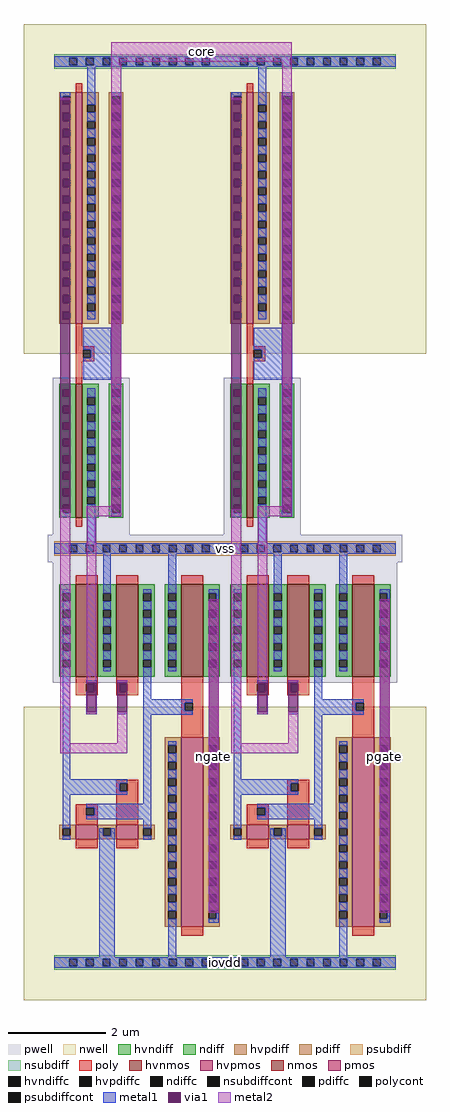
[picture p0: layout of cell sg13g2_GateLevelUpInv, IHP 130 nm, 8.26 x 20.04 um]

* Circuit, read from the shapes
.subckt sg13g2_GateLevelUpInv vdd vss iovdd core ngate pgate
XM1 vss core n1 vss sg13_hv_nmos w=1.9u l=0.45u
XM2 vss core n2 vss sg13_lv_nmos w=2.75u l=0.13u
XM3 n3 n2 vss vss sg13_hv_nmos w=1.9u l=0.45u
XM4 ngate n3 vss vss sg13_hv_nmos w=1.9u l=0.45u
XM5 vss core n4 vss sg13_hv_nmos w=1.9u l=0.45u
XM6 vss core n5 vss sg13_lv_nmos w=2.75u l=0.13u
XM7 n6 n5 vss vss sg13_hv_nmos w=1.9u l=0.45u
XM8 pgate n6 vss vss sg13_hv_nmos w=1.9u l=0.45u
XM9 iovdd n3 n1 iovdd sg13_hv_pmos w=0.3u l=0.45u
XM10 vdd core n2 vdd sg13_lv_pmos w=4.75u l=0.13u
XM11 n3 n1 iovdd iovdd sg13_hv_pmos w=0.3u l=0.45u
XM12 ngate n3 iovdd iovdd sg13_hv_pmos w=3.9u l=0.45u
XM13 iovdd n6 n4 iovdd sg13_hv_pmos w=0.3u l=0.45u
XM14 vdd core n5 vdd sg13_lv_pmos w=4.75u l=0.13u
XM15 n6 n4 iovdd iovdd sg13_hv_pmos w=0.3u l=0.45u
XM16 pgate n6 iovdd iovdd sg13_hv_pmos w=3.9u l=0.45u
.ends

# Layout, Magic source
magic
tech ihp-sg13g2
magscale 1 2
<< metal1 >>
rect 0 -221 1404 -179
rect 0 -2221 1404 -2179
rect 0 -3921 1404 -3879
<< metal2 >>
rect 235 -200 977 -120
rect 235 -2047 275 -200
rect 937 -2047 977 -200
rect 636 -3696 676 -2408
rect 1338 -3696 1378 -2408
use sg13g2_LevelUpInv  sg13g2_LevelUpInv_0
transform 1 0 0 0 1 -3900
box -124 -154 826 3854
use sg13g2_LevelUpInv  sg13g2_LevelUpInv_1
transform 1 0 702 0 1 -3900
box -124 -154 826 3854
<< labels >>
flabel metal2 s 1338 -3696 1378 -2408 0 FreeSans 800 0 0 0 pgate
port 6 nsew
rlabel metal2 s 636 -3696 676 -2408 4 ngate
port 5 nsew
rlabel metal2 s 235 -200 977 -120 4 core
port 4 nsew
rlabel metal1 s 0 -3921 1404 -3879 4 iovdd
port 3 nsew
rlabel metal1 s 0 -221 1404 -179 4 vdd
port 1 nsew
rlabel metal1 s 0 -2221 1404 -2179 4 vss
port 2 nsew
<< properties >>
string device primitive
string GDS_END 29661080
string GDS_FILE sg13g2_io.gds
string GDS_START 29659922
<< end >>

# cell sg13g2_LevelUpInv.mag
magic
tech ihp-sg13g2
magscale 1 2
<< nwell >>
rect -124 2500 826 3854
rect -124 -154 826 1050
<< pwell >>
rect -5 1756 311 2402
rect -26 1644 728 1756
rect -5 1148 707 1644
<< nmos >>
rect 89 1826 115 2376
<< pmos >>
rect 89 2624 115 3574
<< hvnmos >>
rect 89 1174 179 1554
rect 255 1174 345 1554
rect 523 1174 613 1554
<< hvpmos >>
rect 89 506 179 566
rect 255 506 345 566
rect 523 146 613 926
<< ndiff >>
rect 21 2355 89 2376
rect 21 2323 35 2355
rect 67 2323 89 2355
rect 21 2287 89 2323
rect 21 2255 35 2287
rect 67 2255 89 2287
rect 21 2219 89 2255
rect 21 2187 35 2219
rect 67 2187 89 2219
rect 21 2151 89 2187
rect 21 2119 35 2151
rect 67 2119 89 2151
rect 21 2083 89 2119
rect 21 2051 35 2083
rect 67 2051 89 2083
rect 21 2015 89 2051
rect 21 1983 35 2015
rect 67 1983 89 2015
rect 21 1947 89 1983
rect 21 1915 35 1947
rect 67 1915 89 1947
rect 21 1879 89 1915
rect 21 1847 35 1879
rect 67 1847 89 1879
rect 21 1826 89 1847
rect 115 2321 183 2376
rect 115 2289 137 2321
rect 169 2289 183 2321
rect 115 2253 183 2289
rect 115 2221 137 2253
rect 169 2221 183 2253
rect 115 2185 183 2221
rect 115 2153 137 2185
rect 169 2153 183 2185
rect 115 2117 183 2153
rect 115 2085 137 2117
rect 169 2085 183 2117
rect 115 2049 183 2085
rect 115 2017 137 2049
rect 169 2017 183 2049
rect 115 1981 183 2017
rect 115 1949 137 1981
rect 169 1949 183 1981
rect 115 1913 183 1949
rect 115 1881 137 1913
rect 169 1881 183 1913
rect 115 1826 183 1881
rect 225 2355 285 2376
rect 225 2323 239 2355
rect 271 2323 285 2355
rect 225 2287 285 2323
rect 225 2255 239 2287
rect 271 2255 285 2287
rect 225 2219 285 2255
rect 225 2187 239 2219
rect 271 2187 285 2219
rect 225 2151 285 2187
rect 225 2119 239 2151
rect 271 2119 285 2151
rect 225 2083 285 2119
rect 225 2051 239 2083
rect 271 2051 285 2083
rect 225 2015 285 2051
rect 225 1983 239 2015
rect 271 1983 285 2015
rect 225 1947 285 1983
rect 225 1915 239 1947
rect 271 1915 285 1947
rect 225 1879 285 1915
rect 225 1847 239 1879
rect 271 1847 285 1879
rect 225 1826 285 1847
<< pdiff >>
rect 21 3557 89 3574
rect 21 3525 35 3557
rect 67 3525 89 3557
rect 21 3489 89 3525
rect 21 3457 35 3489
rect 67 3457 89 3489
rect 21 3421 89 3457
rect 21 3389 35 3421
rect 67 3389 89 3421
rect 21 3353 89 3389
rect 21 3321 35 3353
rect 67 3321 89 3353
rect 21 3285 89 3321
rect 21 3253 35 3285
rect 67 3253 89 3285
rect 21 3217 89 3253
rect 21 3185 35 3217
rect 67 3185 89 3217
rect 21 3149 89 3185
rect 21 3117 35 3149
rect 67 3117 89 3149
rect 21 3081 89 3117
rect 21 3049 35 3081
rect 67 3049 89 3081
rect 21 3013 89 3049
rect 21 2981 35 3013
rect 67 2981 89 3013
rect 21 2945 89 2981
rect 21 2913 35 2945
rect 67 2913 89 2945
rect 21 2877 89 2913
rect 21 2845 35 2877
rect 67 2845 89 2877
rect 21 2809 89 2845
rect 21 2777 35 2809
rect 67 2777 89 2809
rect 21 2741 89 2777
rect 21 2709 35 2741
rect 67 2709 89 2741
rect 21 2673 89 2709
rect 21 2641 35 2673
rect 67 2641 89 2673
rect 21 2624 89 2641
rect 115 3523 183 3574
rect 115 3491 137 3523
rect 169 3491 183 3523
rect 115 3455 183 3491
rect 115 3423 137 3455
rect 169 3423 183 3455
rect 115 3387 183 3423
rect 115 3355 137 3387
rect 169 3355 183 3387
rect 115 3319 183 3355
rect 115 3287 137 3319
rect 169 3287 183 3319
rect 115 3251 183 3287
rect 115 3219 137 3251
rect 169 3219 183 3251
rect 115 3183 183 3219
rect 115 3151 137 3183
rect 169 3151 183 3183
rect 115 3115 183 3151
rect 115 3083 137 3115
rect 169 3083 183 3115
rect 115 3047 183 3083
rect 115 3015 137 3047
rect 169 3015 183 3047
rect 115 2979 183 3015
rect 115 2947 137 2979
rect 169 2947 183 2979
rect 115 2911 183 2947
rect 115 2879 137 2911
rect 169 2879 183 2911
rect 115 2843 183 2879
rect 115 2811 137 2843
rect 169 2811 183 2843
rect 115 2775 183 2811
rect 115 2743 137 2775
rect 169 2743 183 2775
rect 115 2707 183 2743
rect 115 2675 137 2707
rect 169 2675 183 2707
rect 115 2624 183 2675
rect 225 3557 285 3574
rect 225 3525 239 3557
rect 271 3525 285 3557
rect 225 3489 285 3525
rect 225 3457 239 3489
rect 271 3457 285 3489
rect 225 3421 285 3457
rect 225 3389 239 3421
rect 271 3389 285 3421
rect 225 3353 285 3389
rect 225 3321 239 3353
rect 271 3321 285 3353
rect 225 3285 285 3321
rect 225 3253 239 3285
rect 271 3253 285 3285
rect 225 3217 285 3253
rect 225 3185 239 3217
rect 271 3185 285 3217
rect 225 3149 285 3185
rect 225 3117 239 3149
rect 271 3117 285 3149
rect 225 3081 285 3117
rect 225 3049 239 3081
rect 271 3049 285 3081
rect 225 3013 285 3049
rect 225 2981 239 3013
rect 271 2981 285 3013
rect 225 2945 285 2981
rect 225 2913 239 2945
rect 271 2913 285 2945
rect 225 2877 285 2913
rect 225 2845 239 2877
rect 271 2845 285 2877
rect 225 2809 285 2845
rect 225 2777 239 2809
rect 271 2777 285 2809
rect 225 2741 285 2777
rect 225 2709 239 2741
rect 271 2709 285 2741
rect 225 2673 285 2709
rect 225 2641 239 2673
rect 271 2641 285 2673
rect 225 2624 285 2641
<< hvndiff >>
rect 21 1516 89 1554
rect 21 1484 35 1516
rect 67 1484 89 1516
rect 21 1448 89 1484
rect 21 1416 35 1448
rect 67 1416 89 1448
rect 21 1380 89 1416
rect 21 1348 35 1380
rect 67 1348 89 1380
rect 21 1312 89 1348
rect 21 1280 35 1312
rect 67 1280 89 1312
rect 21 1244 89 1280
rect 21 1212 35 1244
rect 67 1212 89 1244
rect 21 1174 89 1212
rect 179 1516 255 1554
rect 179 1484 201 1516
rect 233 1484 255 1516
rect 179 1448 255 1484
rect 179 1416 201 1448
rect 233 1416 255 1448
rect 179 1380 255 1416
rect 179 1348 201 1380
rect 233 1348 255 1380
rect 179 1312 255 1348
rect 179 1280 201 1312
rect 233 1280 255 1312
rect 179 1244 255 1280
rect 179 1212 201 1244
rect 233 1212 255 1244
rect 179 1174 255 1212
rect 345 1516 413 1554
rect 345 1484 367 1516
rect 399 1484 413 1516
rect 345 1448 413 1484
rect 345 1416 367 1448
rect 399 1416 413 1448
rect 345 1380 413 1416
rect 345 1348 367 1380
rect 399 1348 413 1380
rect 345 1312 413 1348
rect 345 1280 367 1312
rect 399 1280 413 1312
rect 345 1244 413 1280
rect 345 1212 367 1244
rect 399 1212 413 1244
rect 345 1174 413 1212
rect 455 1516 523 1554
rect 455 1484 469 1516
rect 501 1484 523 1516
rect 455 1448 523 1484
rect 455 1416 469 1448
rect 501 1416 523 1448
rect 455 1380 523 1416
rect 455 1348 469 1380
rect 501 1348 523 1380
rect 455 1312 523 1348
rect 455 1280 469 1312
rect 501 1280 523 1312
rect 455 1244 523 1280
rect 455 1212 469 1244
rect 501 1212 523 1244
rect 455 1174 523 1212
rect 613 1516 681 1554
rect 613 1484 635 1516
rect 667 1484 681 1516
rect 613 1448 681 1484
rect 613 1416 635 1448
rect 667 1416 681 1448
rect 613 1380 681 1416
rect 613 1348 635 1380
rect 667 1348 681 1380
rect 613 1312 681 1348
rect 613 1280 635 1312
rect 667 1280 681 1312
rect 613 1244 681 1280
rect 613 1212 635 1244
rect 667 1212 681 1244
rect 613 1174 681 1212
<< hvpdiff >>
rect 455 892 523 926
rect 455 860 469 892
rect 501 860 523 892
rect 455 824 523 860
rect 455 792 469 824
rect 501 792 523 824
rect 455 756 523 792
rect 455 724 469 756
rect 501 724 523 756
rect 455 688 523 724
rect 455 656 469 688
rect 501 656 523 688
rect 455 620 523 656
rect 455 588 469 620
rect 501 588 523 620
rect 21 552 89 566
rect 21 520 35 552
rect 67 520 89 552
rect 21 506 89 520
rect 179 552 255 566
rect 179 520 201 552
rect 233 520 255 552
rect 179 506 255 520
rect 345 552 413 566
rect 345 520 367 552
rect 399 520 413 552
rect 345 506 413 520
rect 455 552 523 588
rect 455 520 469 552
rect 501 520 523 552
rect 455 484 523 520
rect 455 452 469 484
rect 501 452 523 484
rect 455 416 523 452
rect 455 384 469 416
rect 501 384 523 416
rect 455 348 523 384
rect 455 316 469 348
rect 501 316 523 348
rect 455 280 523 316
rect 455 248 469 280
rect 501 248 523 280
rect 455 212 523 248
rect 455 180 469 212
rect 501 180 523 212
rect 455 146 523 180
rect 613 892 681 926
rect 613 860 635 892
rect 667 860 681 892
rect 613 824 681 860
rect 613 792 635 824
rect 667 792 681 824
rect 613 756 681 792
rect 613 724 635 756
rect 667 724 681 756
rect 613 688 681 724
rect 613 656 635 688
rect 667 656 681 688
rect 613 620 681 656
rect 613 588 635 620
rect 667 588 681 620
rect 613 552 681 588
rect 613 520 635 552
rect 667 520 681 552
rect 613 484 681 520
rect 613 452 635 484
rect 667 452 681 484
rect 613 416 681 452
rect 613 384 635 416
rect 667 384 681 416
rect 613 348 681 384
rect 613 316 635 348
rect 667 316 681 348
rect 613 280 681 316
rect 613 248 635 280
rect 667 248 681 280
rect 613 212 681 248
rect 613 180 635 212
rect 667 180 681 212
rect 613 146 681 180
<< ndiffc >>
rect 35 2323 67 2355
rect 35 2255 67 2287
rect 35 2187 67 2219
rect 35 2119 67 2151
rect 35 2051 67 2083
rect 35 1983 67 2015
rect 35 1915 67 1947
rect 35 1847 67 1879
rect 137 2289 169 2321
rect 137 2221 169 2253
rect 137 2153 169 2185
rect 137 2085 169 2117
rect 137 2017 169 2049
rect 137 1949 169 1981
rect 137 1881 169 1913
rect 239 2323 271 2355
rect 239 2255 271 2287
rect 239 2187 271 2219
rect 239 2119 271 2151
rect 239 2051 271 2083
rect 239 1983 271 2015
rect 239 1915 271 1947
rect 239 1847 271 1879
<< pdiffc >>
rect 35 3525 67 3557
rect 35 3457 67 3489
rect 35 3389 67 3421
rect 35 3321 67 3353
rect 35 3253 67 3285
rect 35 3185 67 3217
rect 35 3117 67 3149
rect 35 3049 67 3081
rect 35 2981 67 3013
rect 35 2913 67 2945
rect 35 2845 67 2877
rect 35 2777 67 2809
rect 35 2709 67 2741
rect 35 2641 67 2673
rect 137 3491 169 3523
rect 137 3423 169 3455
rect 137 3355 169 3387
rect 137 3287 169 3319
rect 137 3219 169 3251
rect 137 3151 169 3183
rect 137 3083 169 3115
rect 137 3015 169 3047
rect 137 2947 169 2979
rect 137 2879 169 2911
rect 137 2811 169 2843
rect 137 2743 169 2775
rect 137 2675 169 2707
rect 239 3525 271 3557
rect 239 3457 271 3489
rect 239 3389 271 3421
rect 239 3321 271 3353
rect 239 3253 271 3285
rect 239 3185 271 3217
rect 239 3117 271 3149
rect 239 3049 271 3081
rect 239 2981 271 3013
rect 239 2913 271 2945
rect 239 2845 271 2877
rect 239 2777 271 2809
rect 239 2709 271 2741
rect 239 2641 271 2673
<< hvndiffc >>
rect 35 1484 67 1516
rect 35 1416 67 1448
rect 35 1348 67 1380
rect 35 1280 67 1312
rect 35 1212 67 1244
rect 201 1484 233 1516
rect 201 1416 233 1448
rect 201 1348 233 1380
rect 201 1280 233 1312
rect 201 1212 233 1244
rect 367 1484 399 1516
rect 367 1416 399 1448
rect 367 1348 399 1380
rect 367 1280 399 1312
rect 367 1212 399 1244
rect 469 1484 501 1516
rect 469 1416 501 1448
rect 469 1348 501 1380
rect 469 1280 501 1312
rect 469 1212 501 1244
rect 635 1484 667 1516
rect 635 1416 667 1448
rect 635 1348 667 1380
rect 635 1280 667 1312
rect 635 1212 667 1244
<< hvpdiffc >>
rect 469 860 501 892
rect 469 792 501 824
rect 469 724 501 756
rect 469 656 501 688
rect 469 588 501 620
rect 35 520 67 552
rect 201 520 233 552
rect 367 520 399 552
rect 469 520 501 552
rect 469 452 501 484
rect 469 384 501 416
rect 469 316 501 348
rect 469 248 501 280
rect 469 180 501 212
rect 635 860 667 892
rect 635 792 667 824
rect 635 724 667 756
rect 635 656 667 688
rect 635 588 667 620
rect 635 520 667 552
rect 635 452 667 484
rect 635 384 667 416
rect 635 316 667 348
rect 635 248 667 280
rect 635 180 667 212
<< psubdiff >>
rect 0 1716 702 1730
rect 0 1684 63 1716
rect 95 1684 131 1716
rect 163 1684 199 1716
rect 231 1684 267 1716
rect 299 1684 335 1716
rect 367 1684 403 1716
rect 435 1684 471 1716
rect 503 1684 539 1716
rect 571 1684 607 1716
rect 639 1684 702 1716
rect 0 1670 702 1684
<< nsubdiff >>
rect 0 3716 702 3730
rect 0 3684 63 3716
rect 95 3684 131 3716
rect 163 3684 199 3716
rect 231 3684 267 3716
rect 299 3684 335 3716
rect 367 3684 403 3716
rect 435 3684 471 3716
rect 503 3684 539 3716
rect 571 3684 607 3716
rect 639 3684 702 3716
rect 0 3670 702 3684
rect 0 16 702 30
rect 0 -16 63 16
rect 95 -16 131 16
rect 163 -16 199 16
rect 231 -16 267 16
rect 299 -16 335 16
rect 367 -16 403 16
rect 435 -16 471 16
rect 503 -16 539 16
rect 571 -16 607 16
rect 639 -16 702 16
rect 0 -30 702 -16
<< psubdiffcont >>
rect 63 1684 95 1716
rect 131 1684 163 1716
rect 199 1684 231 1716
rect 267 1684 299 1716
rect 335 1684 367 1716
rect 403 1684 435 1716
rect 471 1684 503 1716
rect 539 1684 571 1716
rect 607 1684 639 1716
<< nsubdiffcont >>
rect 63 3684 95 3716
rect 131 3684 163 3716
rect 199 3684 231 3716
rect 267 3684 299 3716
rect 335 3684 367 3716
rect 403 3684 435 3716
rect 471 3684 503 3716
rect 539 3684 571 3716
rect 607 3684 639 3716
rect 63 -16 95 16
rect 131 -16 163 16
rect 199 -16 231 16
rect 267 -16 299 16
rect 335 -16 367 16
rect 403 -16 435 16
rect 471 -16 503 16
rect 539 -16 571 16
rect 607 -16 639 16
<< poly >>
rect 89 3574 115 3610
rect 89 2530 115 2624
rect 89 2516 165 2530
rect 89 2484 119 2516
rect 151 2484 165 2516
rect 89 2470 165 2484
rect 89 2376 115 2470
rect 89 1790 115 1826
rect 89 1554 179 1590
rect 255 1554 345 1590
rect 523 1554 613 1590
rect 89 1144 179 1174
rect 89 1112 133 1144
rect 165 1112 179 1144
rect 89 1098 179 1112
rect 255 1144 345 1174
rect 255 1112 269 1144
rect 301 1112 345 1144
rect 255 1098 345 1112
rect 523 1066 613 1174
rect 523 1034 537 1066
rect 569 1034 613 1066
rect 523 926 613 1034
rect 255 736 345 750
rect 255 704 269 736
rect 301 704 345 736
rect 89 636 179 650
rect 89 604 133 636
rect 165 604 179 636
rect 89 566 179 604
rect 255 566 345 704
rect 89 470 179 506
rect 255 470 345 506
rect 523 110 613 146
<< polycont >>
rect 119 2484 151 2516
rect 133 1112 165 1144
rect 269 1112 301 1144
rect 537 1034 569 1066
rect 269 704 301 736
rect 133 604 165 636
<< metal1 >>
rect 0 3716 702 3721
rect 0 3684 63 3716
rect 95 3684 131 3716
rect 163 3684 199 3716
rect 231 3684 267 3716
rect 299 3684 335 3716
rect 367 3684 403 3716
rect 435 3684 471 3716
rect 503 3684 539 3716
rect 571 3684 607 3716
rect 639 3684 702 3716
rect 0 3679 702 3684
rect 25 3557 67 3573
rect 25 3542 35 3557
rect 25 1862 26 3542
rect 66 3489 67 3525
rect 66 3421 67 3457
rect 66 3353 67 3389
rect 66 3285 67 3321
rect 66 3217 67 3253
rect 66 3149 67 3185
rect 66 3081 67 3117
rect 66 3013 67 3049
rect 66 2945 67 2981
rect 66 2877 67 2913
rect 66 2809 67 2845
rect 66 2741 67 2777
rect 66 2673 67 2709
rect 137 3523 169 3679
rect 137 3455 169 3491
rect 137 3387 169 3423
rect 137 3319 169 3355
rect 137 3251 169 3287
rect 137 3183 169 3219
rect 137 3115 169 3151
rect 137 3047 169 3083
rect 137 2979 169 3015
rect 137 2911 169 2947
rect 137 2843 169 2879
rect 137 2775 169 2811
rect 137 2707 169 2743
rect 137 2642 169 2675
rect 234 3557 276 3573
rect 234 3542 239 3557
rect 271 3542 276 3557
rect 66 2355 67 2641
rect 234 2606 235 3542
rect 119 2516 235 2606
rect 151 2484 235 2516
rect 119 2394 235 2484
rect 66 2287 67 2323
rect 66 2219 67 2255
rect 66 2151 67 2187
rect 66 2083 67 2119
rect 66 2015 67 2051
rect 66 1947 67 1983
rect 66 1879 67 1915
rect 25 1847 35 1862
rect 25 1831 67 1847
rect 137 2321 169 2358
rect 137 2253 169 2289
rect 137 2185 169 2221
rect 137 2117 169 2153
rect 137 2049 169 2085
rect 137 1981 169 2017
rect 137 1913 169 1949
rect 137 1721 169 1881
rect 234 1862 235 2394
rect 275 1862 276 3542
rect 234 1847 239 1862
rect 271 1847 276 1862
rect 234 1831 276 1847
rect 0 1716 702 1721
rect 0 1684 63 1716
rect 95 1684 131 1716
rect 163 1684 199 1716
rect 231 1684 267 1716
rect 299 1684 335 1716
rect 367 1684 403 1716
rect 435 1684 471 1716
rect 503 1684 539 1716
rect 571 1684 607 1716
rect 639 1684 702 1716
rect 0 1679 702 1684
rect 35 1516 67 1532
rect 35 1448 67 1484
rect 35 1380 67 1416
rect 35 1312 67 1348
rect 35 1244 67 1280
rect 35 752 67 1212
rect 201 1516 233 1679
rect 201 1448 233 1484
rect 201 1380 233 1416
rect 201 1312 233 1348
rect 201 1244 233 1280
rect 201 1196 233 1212
rect 367 1516 399 1532
rect 367 1448 399 1484
rect 367 1380 399 1416
rect 367 1312 399 1348
rect 367 1244 399 1280
rect 133 1151 175 1160
rect 133 1144 134 1151
rect 133 1029 134 1112
rect 174 1029 175 1151
rect 133 1020 175 1029
rect 259 1151 301 1160
rect 259 1029 260 1151
rect 300 1144 301 1151
rect 300 1029 301 1112
rect 259 1020 301 1029
rect 367 1082 399 1212
rect 469 1516 501 1679
rect 469 1448 501 1484
rect 469 1380 501 1416
rect 469 1312 501 1348
rect 469 1244 501 1280
rect 469 1196 501 1212
rect 635 1516 677 1532
rect 667 1484 677 1516
rect 635 1483 677 1484
rect 635 1448 636 1483
rect 635 1380 636 1416
rect 635 1312 636 1348
rect 635 1244 636 1280
rect 367 1066 569 1082
rect 367 1034 537 1066
rect 367 1018 569 1034
rect 35 736 301 752
rect 35 704 269 736
rect 35 688 301 704
rect 35 552 67 688
rect 367 652 399 1018
rect 133 636 399 652
rect 165 604 399 636
rect 133 588 399 604
rect 367 552 399 588
rect 35 504 67 520
rect 185 520 201 552
rect 233 520 249 552
rect 185 21 249 520
rect 367 504 399 520
rect 469 892 501 908
rect 469 824 501 860
rect 469 756 501 792
rect 469 688 501 724
rect 469 620 501 656
rect 469 552 501 588
rect 469 484 501 520
rect 469 416 501 452
rect 469 348 501 384
rect 469 280 501 316
rect 469 212 501 248
rect 469 21 501 180
rect 635 892 636 1212
rect 635 824 636 860
rect 635 756 636 792
rect 635 688 636 724
rect 635 620 636 656
rect 635 552 636 588
rect 635 484 636 520
rect 635 416 636 452
rect 635 348 636 384
rect 635 280 636 316
rect 635 213 636 248
rect 676 213 677 1483
rect 635 212 677 213
rect 667 180 677 212
rect 635 164 677 180
rect 0 16 702 21
rect 0 -16 63 16
rect 95 -16 131 16
rect 163 -16 199 16
rect 231 -16 267 16
rect 299 -16 335 16
rect 367 -16 403 16
rect 435 -16 471 16
rect 503 -16 539 16
rect 571 -16 607 16
rect 639 -16 702 16
rect 0 -21 702 -16
<< via1 >>
rect 26 3525 35 3542
rect 35 3525 66 3542
rect 26 3489 66 3525
rect 26 3457 35 3489
rect 35 3457 66 3489
rect 26 3421 66 3457
rect 26 3389 35 3421
rect 35 3389 66 3421
rect 26 3353 66 3389
rect 26 3321 35 3353
rect 35 3321 66 3353
rect 26 3285 66 3321
rect 26 3253 35 3285
rect 35 3253 66 3285
rect 26 3217 66 3253
rect 26 3185 35 3217
rect 35 3185 66 3217
rect 26 3149 66 3185
rect 26 3117 35 3149
rect 35 3117 66 3149
rect 26 3081 66 3117
rect 26 3049 35 3081
rect 35 3049 66 3081
rect 26 3013 66 3049
rect 26 2981 35 3013
rect 35 2981 66 3013
rect 26 2945 66 2981
rect 26 2913 35 2945
rect 35 2913 66 2945
rect 26 2877 66 2913
rect 26 2845 35 2877
rect 35 2845 66 2877
rect 26 2809 66 2845
rect 26 2777 35 2809
rect 35 2777 66 2809
rect 26 2741 66 2777
rect 26 2709 35 2741
rect 35 2709 66 2741
rect 26 2673 66 2709
rect 26 2641 35 2673
rect 35 2641 66 2673
rect 26 2355 66 2641
rect 235 3525 239 3542
rect 239 3525 271 3542
rect 271 3525 275 3542
rect 235 3489 275 3525
rect 235 3457 239 3489
rect 239 3457 271 3489
rect 271 3457 275 3489
rect 235 3421 275 3457
rect 235 3389 239 3421
rect 239 3389 271 3421
rect 271 3389 275 3421
rect 235 3353 275 3389
rect 235 3321 239 3353
rect 239 3321 271 3353
rect 271 3321 275 3353
rect 235 3285 275 3321
rect 235 3253 239 3285
rect 239 3253 271 3285
rect 271 3253 275 3285
rect 235 3217 275 3253
rect 235 3185 239 3217
rect 239 3185 271 3217
rect 271 3185 275 3217
rect 235 3149 275 3185
rect 235 3117 239 3149
rect 239 3117 271 3149
rect 271 3117 275 3149
rect 235 3081 275 3117
rect 235 3049 239 3081
rect 239 3049 271 3081
rect 271 3049 275 3081
rect 235 3013 275 3049
rect 235 2981 239 3013
rect 239 2981 271 3013
rect 271 2981 275 3013
rect 235 2945 275 2981
rect 235 2913 239 2945
rect 239 2913 271 2945
rect 271 2913 275 2945
rect 235 2877 275 2913
rect 235 2845 239 2877
rect 239 2845 271 2877
rect 271 2845 275 2877
rect 235 2809 275 2845
rect 235 2777 239 2809
rect 239 2777 271 2809
rect 271 2777 275 2809
rect 235 2741 275 2777
rect 235 2709 239 2741
rect 239 2709 271 2741
rect 271 2709 275 2741
rect 235 2673 275 2709
rect 235 2641 239 2673
rect 239 2641 271 2673
rect 271 2641 275 2673
rect 26 2323 35 2355
rect 35 2323 66 2355
rect 26 2287 66 2323
rect 26 2255 35 2287
rect 35 2255 66 2287
rect 26 2219 66 2255
rect 26 2187 35 2219
rect 35 2187 66 2219
rect 26 2151 66 2187
rect 26 2119 35 2151
rect 35 2119 66 2151
rect 26 2083 66 2119
rect 26 2051 35 2083
rect 35 2051 66 2083
rect 26 2015 66 2051
rect 26 1983 35 2015
rect 35 1983 66 2015
rect 26 1947 66 1983
rect 26 1915 35 1947
rect 35 1915 66 1947
rect 26 1879 66 1915
rect 26 1862 35 1879
rect 35 1862 66 1879
rect 235 2355 275 2641
rect 235 2323 239 2355
rect 239 2323 271 2355
rect 271 2323 275 2355
rect 235 2287 275 2323
rect 235 2255 239 2287
rect 239 2255 271 2287
rect 271 2255 275 2287
rect 235 2219 275 2255
rect 235 2187 239 2219
rect 239 2187 271 2219
rect 271 2187 275 2219
rect 235 2151 275 2187
rect 235 2119 239 2151
rect 239 2119 271 2151
rect 271 2119 275 2151
rect 235 2083 275 2119
rect 235 2051 239 2083
rect 239 2051 271 2083
rect 271 2051 275 2083
rect 235 2015 275 2051
rect 235 1983 239 2015
rect 239 1983 271 2015
rect 271 1983 275 2015
rect 235 1947 275 1983
rect 235 1915 239 1947
rect 239 1915 271 1947
rect 271 1915 275 1947
rect 235 1879 275 1915
rect 235 1862 239 1879
rect 239 1862 271 1879
rect 271 1862 275 1879
rect 134 1144 174 1151
rect 134 1112 165 1144
rect 165 1112 174 1144
rect 134 1029 174 1112
rect 260 1144 300 1151
rect 260 1112 269 1144
rect 269 1112 300 1144
rect 260 1029 300 1112
rect 636 1448 676 1483
rect 636 1416 667 1448
rect 667 1416 676 1448
rect 636 1380 676 1416
rect 636 1348 667 1380
rect 667 1348 676 1380
rect 636 1312 676 1348
rect 636 1280 667 1312
rect 667 1280 676 1312
rect 636 1244 676 1280
rect 636 1212 667 1244
rect 667 1212 676 1244
rect 636 892 676 1212
rect 636 860 667 892
rect 667 860 676 892
rect 636 824 676 860
rect 636 792 667 824
rect 667 792 676 824
rect 636 756 676 792
rect 636 724 667 756
rect 667 724 676 756
rect 636 688 676 724
rect 636 656 667 688
rect 667 656 676 688
rect 636 620 676 656
rect 636 588 667 620
rect 667 588 676 620
rect 636 552 676 588
rect 636 520 667 552
rect 667 520 676 552
rect 636 484 676 520
rect 636 452 667 484
rect 667 452 676 484
rect 636 416 676 452
rect 636 384 667 416
rect 667 384 676 416
rect 636 348 676 384
rect 636 316 667 348
rect 667 316 676 348
rect 636 280 676 316
rect 636 248 667 280
rect 667 248 676 280
rect 636 213 676 248
<< metal2 >>
rect 26 3542 66 3551
rect 235 3542 275 3551
rect 26 900 66 1862
rect 134 1862 235 1873
rect 134 1833 275 1862
rect 134 1151 174 1833
rect 636 1483 676 1492
rect 134 1020 174 1029
rect 260 1151 300 1160
rect 260 900 300 1029
rect 26 860 300 900
rect 636 204 676 213
<< labels >>
rlabel metal2 s 636 204 676 1492 4 o
port 5 nsew
rlabel metal2 s 235 1853 275 3551 4 i
port 4 nsew
rlabel metal1 s 0 -21 702 21 4 iovdd
port 2 nsew
rlabel metal1 s 0 1679 702 1721 4 vss
port 3 nsew
rlabel metal1 s 0 3679 702 3721 4 vdd
port 1 nsew
flabel comment s 650 1702 650 1702 0 FreeSans 1600 0 0 0 sub!
<< properties >>
string device primitive
string GDS_END 29659868
string GDS_FILE sg13g2_io.gds
string GDS_START 29642100
<< end >>
